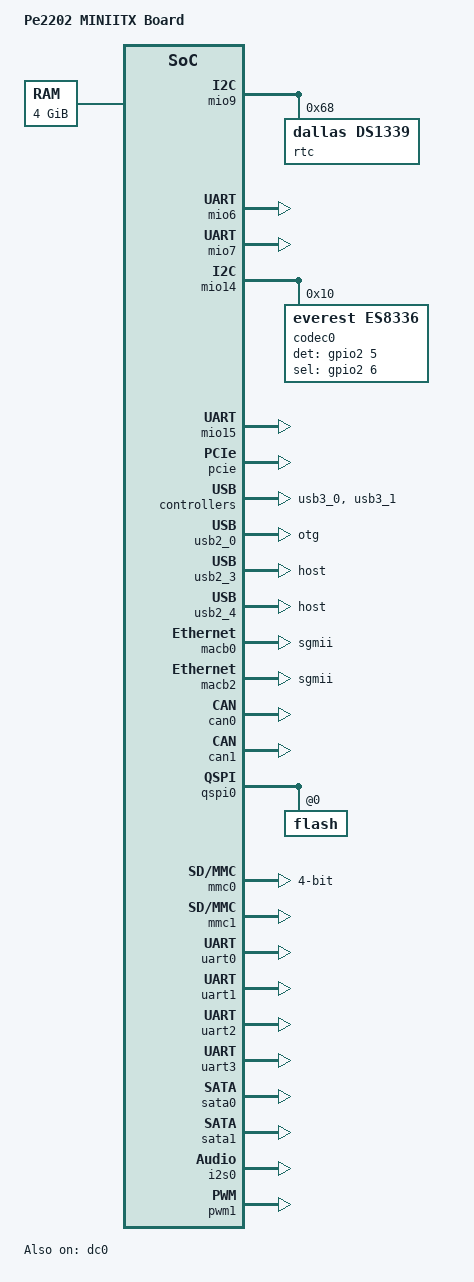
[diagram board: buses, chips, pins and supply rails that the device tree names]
// SPDX-License-Identifier: GPL-2.0
/*
 * DTS file for Phytium Pe2202 miniitx board
 *
 * Copyright (c) 2022-2023 Phytium Technology Co., Ltd.
 *
 * Hongmin Qi <qihongmin@phytium.com.cn>
 *
 * This program is free software; you can redistribute it and/or
 * modify it under the terms of the GNU General Public License as
 * published by the Free Software Foundation; either version 2 of
 * the License, or (at your option) any later version.
 */

/dts-v1/;
/memreserve/ 0x80000000 0x10000;

#include "pe2202.dtsi"

/{
	model = "Pe2202 MINIITX Board";
	compatible = "phytium,pe2202";

	chosen {
		stdout-path = "serial1:115200n8";
	};

	memory@00{
		device_type = "memory";
		reg = <0x0 0x80000000 0x1 0x00000000>;
	};

	sound_card: sound {
		compatible = "simple-audio-card";
		simple-audio-card,format = "i2s";
		simple-audio-card,name = "phytium,pe220x-i2s-audio";
		simple-audio-card,cpu {
			sound-dai = <&i2s0>;
		};
		simple-audio-card,codec {
			sound-dai = <&codec0>;
		};
	};
};

&soc {
	mio0: uart@28014000 {
		compatible = "arm,pl011","arm,primecell";
		reg = <0x0 0x28014000 0x0 0x1000>;
		interrupts = <GIC_SPI 92 IRQ_TYPE_LEVEL_HIGH>;
		clocks = <&sysclk_50mhz &sysclk_50mhz>;
		clock-names = "uartclk", "apb_pclk";
		status = "disabled";
	};

	mio1: uart@28016000 {
		compatible = "arm,pl011","arm,primecell";
		reg = <0x0 0x28016000 0x0 0x1000>;
		interrupts = <GIC_SPI 93 IRQ_TYPE_LEVEL_HIGH>;
		clocks = <&sysclk_50mhz &sysclk_50mhz>;
		clock-names = "uartclk", "apb_pclk";
		status = "disabled";
	};

	mio9: i2c@28026000 {
		compatible = "phytium,i2c";
		reg = <0x0 0x28026000 0x0 0x1000>;
		interrupts = <GIC_SPI 101 IRQ_TYPE_LEVEL_HIGH>;
		clocks = <&sysclk_50mhz>;
		#address-cells = <1>;
		#size-cells = <0>;
		status = "okay";

		rtc@68 {
			compatible = "dallas,ds1339";
			reg = <0x68>;
		};
	};

	mio6: uart@28020000 {
		compatible = "arm,pl011", "arm,primecell";
		reg = <0x0 0x28020000 0x0 0x1000>;
		interrupts = <GIC_SPI 98 IRQ_TYPE_LEVEL_HIGH>;
		clocks = <&sysclk_50mhz &sysclk_50mhz>;
		clock-names = "uartclk", "apb_pclk";
		status = "okay";
	};

	mio7: uart@28022000  {
		compatible = "arm,pl011", "arm,primecell";
		reg = <0x0 0x28022000 0x0 0x1000>;
		interrupts = <GIC_SPI 99 IRQ_TYPE_LEVEL_HIGH>;
		clocks = <&sysclk_50mhz &sysclk_50mhz>;
		clock-names = "uartclk", "apb_pclk";
		status = "okay";
	};

	mio14: i2c@28030000 {
		compatible = "phytium,i2c";
		reg = <0x0 0x28030000 0x0 0x1000>;
		interrupts = <GIC_SPI 106 IRQ_TYPE_LEVEL_HIGH>;
		clocks = <&sysclk_50mhz>;
		#address-cells = <1>;
		#size-cells = <0>;
		status = "okay";

		codec0: es8336@10 {
			det-gpios = <&gpio2 5 0>;
			sel-gpios = <&gpio2 6 0>;
			#sound-dai-cells = <0>;
			compatible = "everest,es8336";
			reg = <0x10>;
			mic-src = [20];
		};
	};

	mio15: uart@28032000  {
		compatible = "arm,pl011", "arm,primecell";
		reg = <0x0 0x28032000 0x0 0x1000>;
		interrupts = <GIC_SPI 107 IRQ_TYPE_LEVEL_HIGH>;
		clocks = <&sysclk_50mhz &sysclk_50mhz>;
		clock-names = "uartclk", "apb_pclk";
		status = "okay";
	};
};

&pcie {
	status = "okay";
};

&usb3_0 {
	status = "okay";
};

&usb3_1 {
	status = "okay";
};

&usb2_0 {
	dr_mode = "otg";
	status = "okay";
};

&usb2_1 {
	dr_mode = "host";
	status = "disabled";
};

&usb2_2 {
	dr_mode = "host";
	status = "disabled";
};

&usb2_3 {
	dr_mode = "host";
	status = "okay";
};

&usb2_4 {
	dr_mode = "host";
	status = "okay";
};

&macb0 {
	phy-mode = "sgmii";
	use-mii;
	status = "okay";
};

&macb1 {
	phy-mode = "sgmii";
	use-mii;
	status = "disabled";
};

&macb2 {
	phy-mode = "sgmii";
	use-mii;
	status = "okay";
};

&macb3 {
	phy-mode = "sgmii";
	use-mii;
	status = "disabled";
};

&can0 {
	status = "okay";
};

&can1 {
	status = "okay";
};

&qspi0 {
	status = "okay";

	flash@0 {
		status = "okay";
	};
};

&spi0 {
	global-cs = <1>;
	status = "disabled";

	flash: w25q128@0 {
		compatible = "winbond,w25q128", "jedec,spi-nor";
		spi-tx-bus-width = <1>;
		spi-rx-bus-width = <1>;
		spi-max-frequency = <12000000>;
		reg = <0x00>;
		status = "disabled";
	};
};

&spi2 {
	global-cs = <1>;
	status = "disabled";
};

&spi3 {
	global-cs = <1>;
	status = "disabled";
};

&mmc0 {
	status = "okay";
	bus-width = <0x4>;
	max-frequency = <50000000>;
	cap-sdio-irq;
	cap-sd-highspeed;
	no-mmc;
};

&mmc1 {
	status = "okay";
};

&uart0 {
	status = "okay";
};

&uart1 {
	status = "okay";
};

&uart2 {
	status = "okay";
};

&uart3 {
	status = "okay";
};

&gpio1 {
	status = "okay";
};

&gpio2 {
	status = "okay";
};

&gpio3 {
	status = "okay";
};

&gpio4 {
	status = "okay";
};

&sata0 {
	status = "okay";
};

&sata1 {
	status = "okay";
};

&dc0 {
	status = "okay";
	pipe_mask = [02];
	edp_mask = [00];
};

&i2s0 {
	#sound-dai-cells = <0>;
	dai-name = "phytium-i2s-lsd";
	status = "okay";
};

&pwm1 {
	phytium,db = <0 0 0 1000 1000 0>;
	status = "okay";
};
